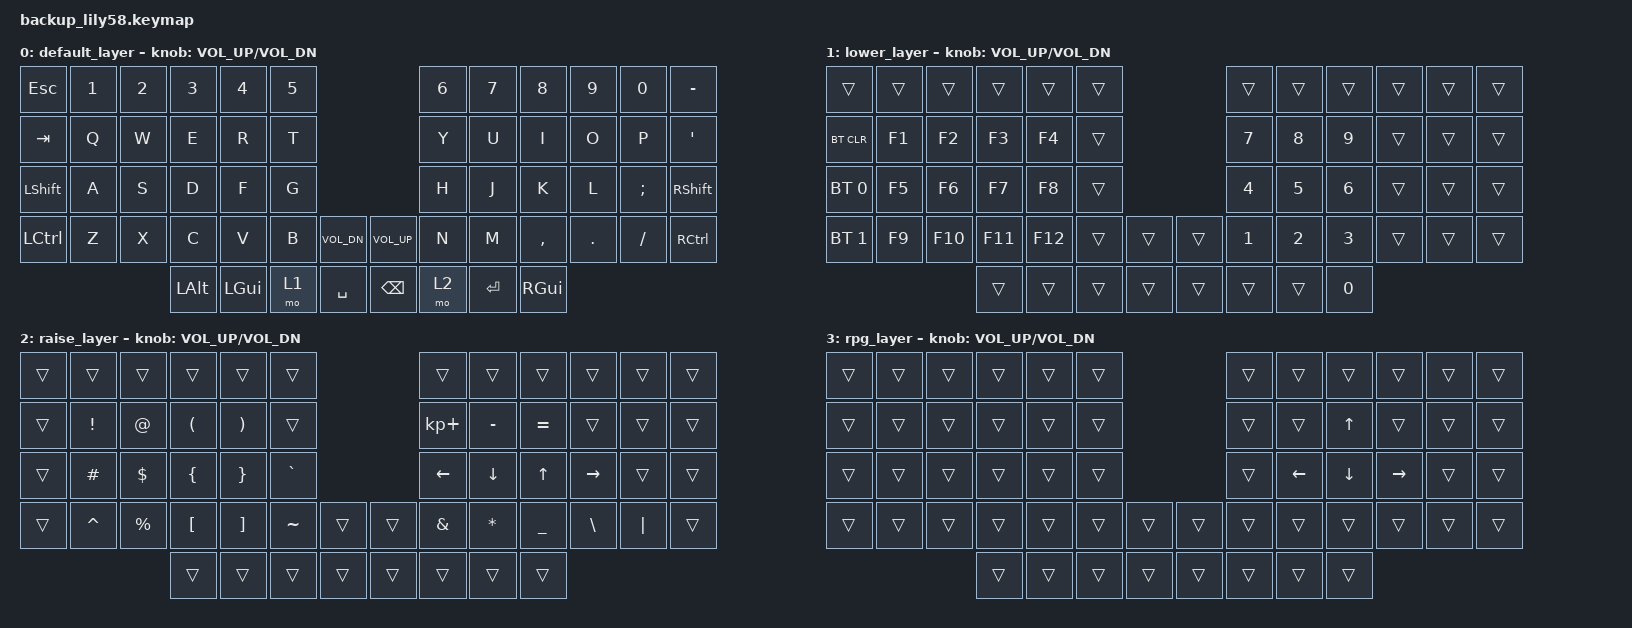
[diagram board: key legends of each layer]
/*
 * Copyright (c) 2020 The ZMK Contributors
 *
 * SPDX-License-Identifier: MIT
 */

/ {
	keymap {
		compatible = "zmk,keymap";

		default_layer {
// ------------------------------------------------------------------------------------------------------------
// |  ESC  |  1  |  2  |  3   |  4   |  5   |                   |  6   |  7    |  8    |  9   |   0   |   `   |
// |  TAB  |  Q  |  W  |  E   |  R   |  T   |                   |  Y   |  U    |  I    |  O   |   P   |   -   |
// |  CTRL |  A  |  S  |  D   |  F   |  G   |                   |  H   |  J    |  K    |  L   |   ;   |   '   |
// | SHIFT |  Z  |  X  |  C   |  V   |  B   |   "["  |  |  "]"  |  N   |  M    |  ,    |  .   |   /   | SHIFT |
//                     | ALT  | GUI  | LOWER|  SPACE |  | BSPC  |RAISE | ENTER | GUI   |
			bindings = <
&kp ESC   &kp N1 &kp N2 &kp N3   &kp N4   &kp N5                             &kp N6 &kp N7   &kp N8    &kp N9  &kp N0   &kp MINUS
&kp TAB   &kp Q  &kp W  &kp E    &kp R    &kp T                              &kp Y  &kp U    &kp I     &kp O   &kp P    &kp SQT
&kp LSHFT &kp A  &kp S  &kp D    &kp F    &kp G                              &kp H  &kp J    &kp K     &kp L   &kp SEMI &kp RSHFT
&kp LCTRL &kp Z  &kp X  &kp C    &kp V    &kp B  &kp C_VOL_DN   &kp C_VOL_UP &kp N  &kp M    &kp COMMA &kp DOT &kp FSLH &kp RCTRL
                        &kp LALT &kp LGUI &mo 1  &kp SPACE      &kp BSPC &mo 2  &kp RET  &kp RGUI
			>;

			sensor-bindings = <&inc_dec_kp C_VOL_UP C_VOL_DN>;
		};

		lower_layer {
// ------------------------------------------------------------------------------------------------------------
// | BTCLR | BT1 | BT2 |  BT3 |  BT4 |  BT5 |                   |      |       |       |      |       |       |
// |  F1   |  F2 |  F3 |  F4  |  F5  |  F6  |                   |  F7  |  F8   |  F9   |  F10 |  F11  |  F12  |
// |   `   |  !  |  @  |  #   |  $   |  %   |                   |  ^   |  &    |  *    |  (   |   )   |   ~   |
// |       |     |     |      |      |      |        |  |       |      |  _    |  +    |  {   |   }   |  "|"  |
//                     |      |      |      |        |  |       |      |       |       |
			bindings = <
// &trans &trans &trans &trans &trans &trans &trans &trans &trans &trans &trans &trans
// &bt BT_CLR &bt BT_SEL 0     &bt BT_SEL 1      &bt BT_SEL 2      &bt BT_SEL 3 &bt BT_SEL 4                 &trans    &trans    &trans          &trans    &trans    &trans
// &kp F1     &kp F2           &kp F3            &kp F4            &kp F5       &kp F6                       &kp F7    &kp F8    &kp F9          &kp F10   &kp F11   &kp F12
// &kp GRAVE  &kp EXCL         &kp AT            &kp HASH          &kp DOLLAR   &kp PRCNT                    &kp CARET &kp AMPS  &kp KP_MULTIPLY &kp LPAR  &kp RPAR  &kp TILDE
// &trans     &ext_power EP_ON &ext_power EP_OFF &ext_power EP_TOG &trans       &trans    &trans   &trans    &trans    &kp MINUS &kp KP_PLUS     &kp LBRC  &kp RBRC  &kp PIPE
&trans &trans &trans &trans &trans &trans                       &trans &trans &trans &trans &trans &trans
&bt BT_CLR    &kp F1 &kp F2  &kp F3  &kp F4  &trans                       &kp N7 &kp N8 &kp N9 &trans &trans &trans
&bt BT_SEL 0  &kp F5 &kp F6  &kp F7  &kp F8  &trans                       &kp N4 &kp N5 &kp N6 &trans &trans &trans
&bt BT_SEL 1  &kp F9 &kp F10 &kp F11 &kp F12 &trans    &trans   &trans    &kp N1 &kp N2 &kp N3 &trans &trans &trans
                 &trans   &trans   &trans    &trans   &trans    &trans    &trans &kp N0
			>;

			sensor-bindings = <&inc_dec_kp C_VOL_UP C_VOL_DN>;
		};

		raise_layer {
// ------------------------------------------------------------------------------------------------------------
// |       |     |     |      |      |      |                   |      |       |       |      |       |       |
// |   `   |  1  |  2  |  3   |  4   |  5   |                   |  +   |   -   |   =   |      |       |       |
// |   F1  |  F2 |  F3 |  F4  |  F5  |  F6  |                   |  <    |   v  |   ^   |  >   |       |       |
// |   F7  |  F8 |  F9 |  F10 |  F11 |  F12 |        |  |       |      |       |       |      |       |   \   |
//                     |      |      |      |        |  |       |      |       |       |
			bindings = <
&trans    &trans     &trans     &trans    &trans    &trans                          &trans      &trans    &trans    &trans    &trans    &trans
&trans    &kp EXCL   &kp AT     &kp LPAR  &kp RPAR  &trans                          &kp KP_PLUS &kp MINUS &kp EQUAL &trans    &trans    &trans
&trans    &kp HASH   &kp DLLR   &kp LBRC  &kp RBRC  &kp GRAV                        &kp LEFT    &kp DOWN  &kp UP    &kp RIGHT &trans    &trans      
&trans    &kp CARET  &kp PRCNT  &kp LBKT  &kp RBKT  &kp TILDE   &trans   &trans     &kp AMPS    &kp ASTRK &kp UNDER &kp BSLH  &kp PIPE  &trans
                                      &trans  &trans  &trans    &trans   &trans     &trans      &trans    &trans
			>;

			sensor-bindings = <&inc_dec_kp C_VOL_UP C_VOL_DN>;
		};

		rpg_layer {
// ------------------------------------------------------------------------------------------------------------
// |       |     |     |      |      |      |                   |      |       |       |      |       |       |
// |   `   |  1  |  2  |  3   |  4   |  5   |                   |  +   |   -   |   =   |      |       |       |
// |   F1  |  F2 |  F3 |  F4  |  F5  |  F6  |                   |  <    |   v  |   ^   |  >   |       |       |
// |   F7  |  F8 |  F9 |  F10 |  F11 |  F12 |        |  |       |      |       |       |      |       |   \   |
//                     |      |      |      |        |  |       |      |       |       |
			bindings = <
&trans    &trans     &trans     &trans    &trans    &trans                          &trans      &trans    &trans    &trans    &trans    &trans
&trans    &trans     &trans     &trans    &trans    &trans                          &trans      &trans    &kp UP    &trans    &trans    &trans
&trans    &trans     &trans     &trans    &trans    &trans                          &trans      &kp LEFT    &kp DOWN    &kp RIGHT    &trans    &trans
&trans    &trans     &trans     &trans    &trans    &trans    &trans   &trans       &trans      &trans    &trans    &trans    &trans    &trans
                                &trans    &trans    &trans    &trans   &trans       &trans      &trans    &trans
			>;

			sensor-bindings = <&inc_dec_kp C_VOL_UP C_VOL_DN>;
		};
	};
};
